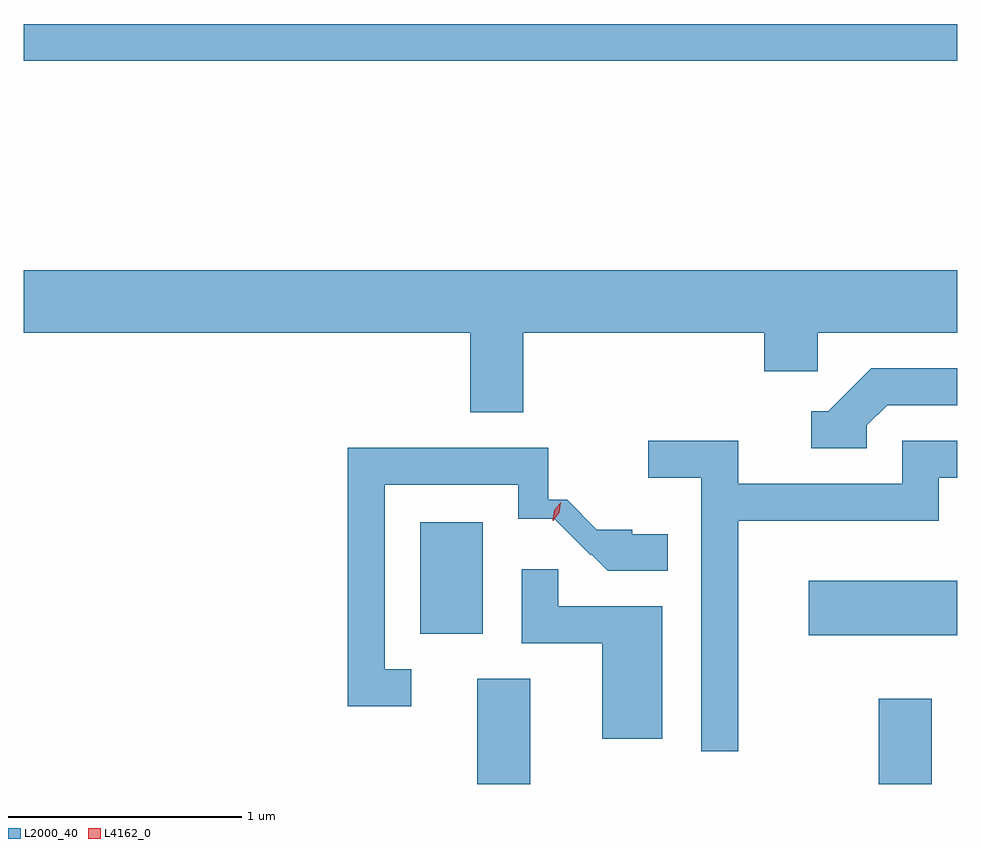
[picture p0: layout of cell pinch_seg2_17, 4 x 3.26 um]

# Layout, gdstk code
import gdstk
lib = gdstk.Library(unit=1e-6, precision=1e-09)
def R(c, l, rs):  # rectangles x0, y0, x1, y1
    for r in rs: c.add(gdstk.rectangle(r[:2], r[2:], *l))
def P(c, l, *ps):  # polygons
    for p in ps: c.add(gdstk.Polygon(p, *l))
L2000_40 = (2000, 40)
L4162_0 = (4162, 0)

pinch_seg2_17 = lib.new_cell('pinch_seg2_17')
R(pinch_seg2_17, L2000_40, [(1659.581,1019.743,1659.809,1020.194), (1661.301,1019.743,1661.529,1020.109), (1661.001,1020.381,1661.638,1020.614), (1659.336,1020.386,1659.604,1020.864), (1657.638,1022.841,1661.638,1022.999)])
P(pinch_seg2_17, L2000_40, [(1659.779,1021.676),(1660.811,1021.676),(1660.811,1021.511),(1661.039,1021.511),(1661.039,1021.676),(1661.638,1021.676),(1661.638,1021.944),(1657.638,1021.944),(1657.638,1021.676),(1659.551,1021.676),(1659.551,1021.336),(1659.779,1021.336)],
  [(1661.249,1021.279),(1661.337,1021.366),(1661.638,1021.366),(1661.638,1021.524),(1661.269,1021.524),(1661.084,1021.339),(1661.013,1021.339),(1661.013,1021.181),(1661.249,1021.181)],
  [(1660.699,1020.871),(1661.559,1020.871),(1661.559,1021.056),(1661.638,1021.056),(1661.638,1021.214),(1661.401,1021.214),(1661.401,1021.029),(1660.699,1021.029),(1660.699,1021.214),(1660.313,1021.214),(1660.313,1021.056),(1660.541,1021.056),(1660.541,1019.883),(1660.699,1019.883)],
  [(1659.298,1020.234),(1659.184,1020.234),(1659.184,1021.026),(1659.756,1021.026),(1659.756,1020.879),(1659.911,1020.879),(1660.067,1020.723),(1660.07,1020.727),(1660.141,1020.656),(1660.398,1020.656),(1660.398,1020.814),(1660.245,1020.814),(1660.245,1020.833),(1660.093,1020.833),(1659.966,1020.96),(1659.886,1020.96),(1659.886,1021.184),(1659.026,1021.184),(1659.026,1020.076),(1659.298,1020.076)],
  [(1660.374,1020.504),(1659.929,1020.504),(1659.929,1020.663),(1659.771,1020.663),(1659.771,1020.346),(1660.116,1020.346),(1660.116,1019.936),(1660.374,1019.936)])
P(pinch_seg2_17, L4162_0, [(1659.904,1020.871),(1659.913,1020.915),(1659.939,1020.95),(1659.94,1020.95),(1659.94,1020.95),(1659.932,1020.906),(1659.906,1020.871),(1659.905,1020.871)],
  [(1659.905,1020.877),(1659.904,1020.878),(1659.912,1020.916),(1659.936,1020.945),(1659.937,1020.946),(1659.937,1020.945),(1659.93,1020.907),(1659.906,1020.877)])

lib.write_gds('pinch_seg2_17.gds')
